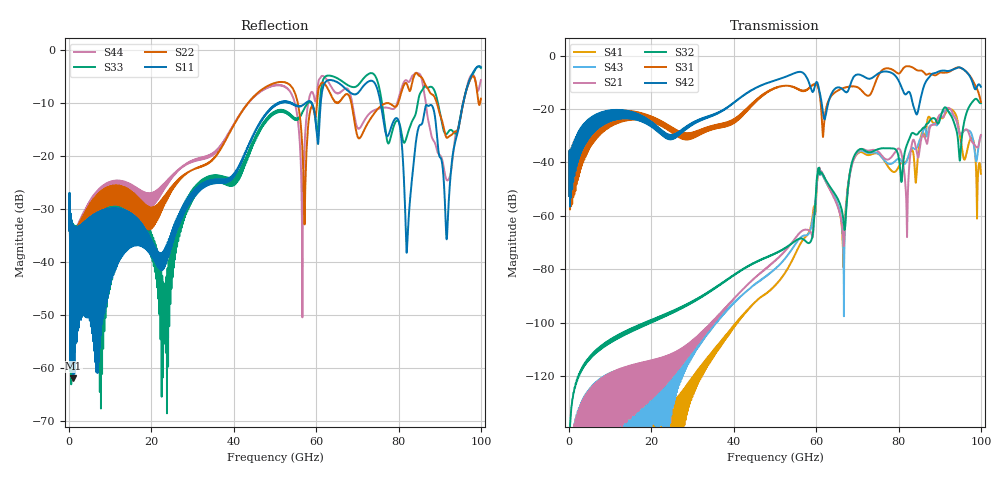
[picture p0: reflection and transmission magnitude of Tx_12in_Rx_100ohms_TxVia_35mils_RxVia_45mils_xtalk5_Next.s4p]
! Info: Touchstone file created by Circ.  Input file=Tx_12in_Rx_100ohms_TxVia_35mils_RxVia_45mils.circ
# Hz S RI R 50
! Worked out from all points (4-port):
!   10000 points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, 10 MHz to 100 GHz, reference 50 ohm
!   strongest paths, dB at 10 MHz, 25.01 GHz, 50.01 GHz, 75.01 GHz, 100 GHz:
!     S42: -52.5, -30.7, -9.2, -6.7, -11.6
!     S31: -52.5, -28.8, -12.1, -7.7, -17.3
!     S32: -162.4, -96.0, -74.1, -35.0, -17.8
!     S21: -175.8, -111.8, -76.9, -35.8, -29.7
!     S43: -175.7, -115.1, -79.9, -36.6, -30.1
!     S41: -181.4, -133.2, -86.2, -36.7, -44.2
!   lowest |S11| = -61.9 dB at 1.05 GHz (marker M1), VSWR 1.00, Z = 50 + j0.0766 ohm
!   |S11| at or under -10 dB: start of sweep to 51 GHz; 53.81 GHz to 57.55 GHz (3.731 GHz wide, 6.7 % of centre); 75.63 GHz to 95.73 GHz (20.09 GHz wide, 23.5 % of centre)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
1e7  0.0183 0.00746  9.71e-10 1.3e-09  0.000821 0.00222  6.14e-10 5.92e-10
     9.71e-10 1.3e-09  0.0185 0.00744  3.61e-09 6.67e-09  0.000817 0.00222
     0.000821 0.00222  3.61e-09 6.67e-09  0.0185 0.00744  9.6e-10 1.32e-09
     6.14e-10 5.92e-10  0.000817 0.00222  9.6e-10 1.32e-09  0.0183 0.00747
1.05e9  -0.000239 0.000766  2.66e-08 9.67e-08  0.000296 0.0117  -4.12e-09 4.16e-08
        2.66e-08 9.67e-08  0.00204 0.00191  9.25e-08 4.8e-07  0.00147 0.0122
        0.000296 0.0117  9.25e-08 4.8e-07  -0.000434 0.00131  3.22e-08 9.85e-08
        -4.12e-09 4.16e-08  0.00147 0.0122  3.22e-08 9.85e-08  0.00229 0.00252
5.272e10  0.2066 0.2511  2.63e-05 -0.000231  0.2611 0.0819  -2.13e-05 -8.99e-05
          2.63e-05 -0.000231  0.4878 -0.0329  5.96e-05 -0.000251  0.2369 -0.3302
          0.2611 0.0819  5.96e-05 -0.000251  0.1676 0.2016  -8.34e-05 -0.000147
          -2.13e-05 -8.99e-05  0.2369 -0.3302  -8.34e-05 -0.000147  0.4392 -0.0462
6.084e10  0.1582 0.1511  -0.00511 0.00549  -0.1917 -0.028  -0.00564 0.00446
          -0.00511 0.00549  0.4291 -0.1453  -0.0047 0.00531  0.0383 0.1988
          -0.1917 -0.028  -0.0047 0.00531  0.1908 0.2336  -0.00511 0.00473
          -0.00564 0.00446  0.0383 0.1988  -0.00511 0.00473  0.5018 -0.1753
6.661e10  0.2291 -0.3849  -2.14e-05 0.000339  -0.2416 -0.0584  2.82e-05 0.000117
          -2.14e-05 0.000339  -0.0894 -0.3503  -0.000821 -1.94e-05  0.1221 0.1912
          -0.2416 -0.0584  -0.000821 -1.94e-05  0.2892 -0.4011  -0.00017 0.000102
          2.82e-05 0.000117  0.1221 0.1912  -0.00017 0.000102  -0.1466 -0.3937
9.174e10  0.0165 -0.00251  -0.102 0.0141  0.4036 -0.2677  0.0327 0.0876
          -0.102 0.0141  0.1435 0.0342  -0.0435 -0.0907  0.411 -0.31
          0.4036 -0.2677  -0.0435 -0.0907  0.1586 0.027  -0.089 0.0285
          0.0327 0.0876  0.411 -0.31  -0.089 0.0285  0.0577 0.0117
1e11  -0.5626 0.394  0.000788 -0.0327  0.0762 0.1125  -0.00565 0.00246
      0.000788 -0.0327  -0.3443 0.0316  0.1006 0.0808  0.0185 0.261
      0.0762 0.1125  0.1006 0.0808  -0.5606 0.3716  -0.0258 -0.0177
      -0.00565 0.00246  0.0185 0.261  -0.0258 -0.0177  -0.5122 0.0748
